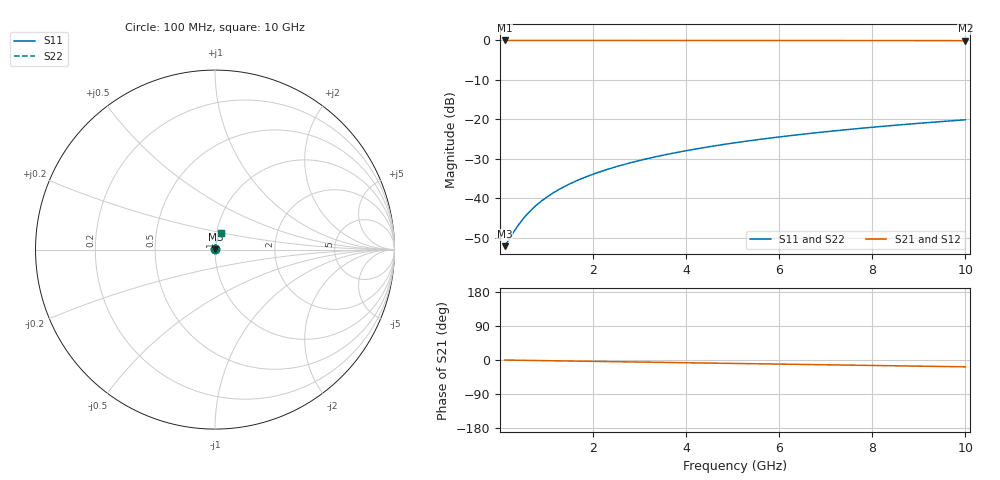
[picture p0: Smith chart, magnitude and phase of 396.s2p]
# Hz S RI R 50.00
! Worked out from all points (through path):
!   100 points, 100 MHz to 10 GHz, reference 50 ohm
!   highest |S21| = -0.02 dB at 100 MHz (marker M1); lowest = -0.1 dB at 10 GHz (marker M2)
!   group delay of S21, straight-line fit = 5.01 ps
!   lowest |S11| = -52.1 dB at 100 MHz (marker M3), VSWR 1.00, Z = 50.2 + j0.0999 ohm
!   |S11| at or under -10 dB: start of sweep to end of sweep
!   |S22| runs from -52.1 to -20.1 dB; largest |S21 - S12| = 0
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1e8  0.00226 0.000995  0.9977 -0.00313  0.9977 -0.00313  0.00226 0.000995
2e8  0.00229 0.00199  0.9977 -0.00627  0.9977 -0.00627  0.00229 0.00199
3e8  0.00231 0.00298  0.9977 -0.0094  0.9977 -0.0094  0.00231 0.00298
4e8  0.00234 0.00398  0.9976 -0.0125  0.9976 -0.0125  0.00234 0.00398
5e8  0.00238 0.00497  0.9976 -0.0157  0.9976 -0.0157  0.00238 0.00497
6e8  0.00242 0.00597  0.9975 -0.0188  0.9975 -0.0188  0.00242 0.00597
7e8  0.00246 0.00696  0.9974 -0.0219  0.9974 -0.0219  0.00246 0.00696
8e8  0.00252 0.00795  0.9973 -0.0251  0.9973 -0.0251  0.00252 0.00795
1e9  0.00264 0.00994  0.9971 -0.0313  0.9971 -0.0313  0.00264 0.00994
1.2e9  0.00278 0.0119  0.9969 -0.0376  0.9969 -0.0376  0.00278 0.0119
1.5e9  0.00304 0.0149  0.9964 -0.047  0.9964 -0.047  0.00304 0.0149
1.8e9  0.00336 0.0179  0.9959 -0.0564  0.9959 -0.0564  0.00336 0.0179
2.1e9  0.00373 0.0208  0.9952 -0.0658  0.9952 -0.0658  0.00373 0.0208
2.5e9  0.00432 0.0248  0.9942 -0.0783  0.9942 -0.0783  0.00432 0.0248
2.9e9  0.005 0.0287  0.993 -0.0908  0.993 -0.0908  0.005 0.0287
3.4e9  0.00598 0.0335  0.9913 -0.1064  0.9913 -0.1064  0.00598 0.0335
4.2e9  0.00788 0.0413  0.988 -0.1312  0.988 -0.1312  0.00788 0.0413
5.1e9  0.0105 0.0498  0.9834 -0.1591  0.9834 -0.1591  0.0105 0.0498
5.9e9  0.0132 0.0573  0.9786 -0.1837  0.9786 -0.1837  0.0132 0.0573
6.7e9  0.0163 0.0646  0.9732 -0.2082  0.9732 -0.2082  0.0163 0.0646
8.4e9  0.0241 0.0797  0.9594 -0.2597  0.9594 -0.2597  0.0241 0.0797
1e10  0.0328 0.093  0.9437 -0.3073  0.9437 -0.3073  0.0328 0.093
